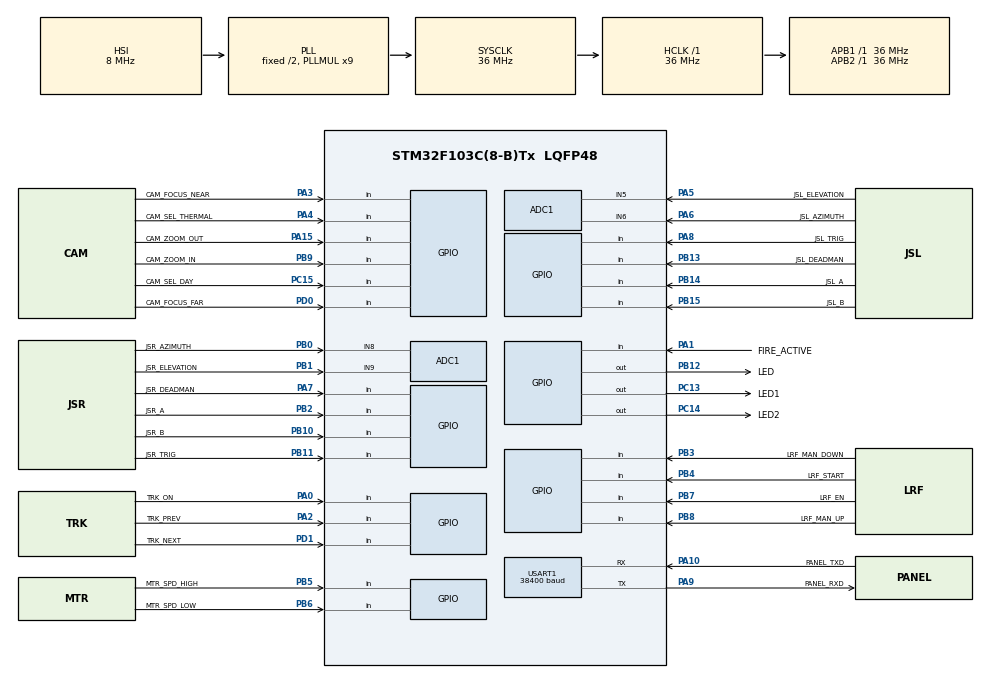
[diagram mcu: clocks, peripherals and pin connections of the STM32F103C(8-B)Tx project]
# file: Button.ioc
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ADC1.Channel-33\#ChannelRegularConversion=ADC_CHANNEL_8
ADC1.Channel-34\#ChannelRegularConversion=ADC_CHANNEL_9
ADC1.Channel-35\#ChannelRegularConversion=ADC_CHANNEL_6
ADC1.Channel-36\#ChannelRegularConversion=ADC_CHANNEL_5
ADC1.ContinuousConvMode=ENABLE
ADC1.DataAlign=ADC_DATAALIGN_RIGHT
ADC1.DiscontinuousConvMode=DISABLE
ADC1.EnableAnalogWatchDog=false
ADC1.EnableRegularConversion=ENABLE
ADC1.ExternalTrigConv=ADC_EXTERNALTRIGCONV_T3_TRGO
ADC1.InjNumberOfConversion=0
ADC1.NbrOfConversion=4
ADC1.NbrOfConversionFlag=1
ADC1.Rank-33\#ChannelRegularConversion=1
ADC1.Rank-34\#ChannelRegularConversion=2
ADC1.Rank-35\#ChannelRegularConversion=3
ADC1.Rank-36\#ChannelRegularConversion=4
ADC1.SamplingTime-33\#ChannelRegularConversion=ADC_SAMPLETIME_55CYCLES_5
ADC1.SamplingTime-34\#ChannelRegularConversion=ADC_SAMPLETIME_55CYCLES_5
ADC1.SamplingTime-35\#ChannelRegularConversion=ADC_SAMPLETIME_55CYCLES_5
ADC1.SamplingTime-36\#ChannelRegularConversion=ADC_SAMPLETIME_55CYCLES_5
ADC1.ScanConvMode=ADC_SCAN_ENABLE
ADC1.master=1
Dma.ADC1.0.Direction=DMA_PERIPH_TO_MEMORY
Dma.ADC1.0.Instance=DMA1_Channel1
Dma.ADC1.0.MemDataAlignment=DMA_MDATAALIGN_HALFWORD
Dma.ADC1.0.MemInc=DMA_MINC_ENABLE
Dma.ADC1.0.Mode=DMA_CIRCULAR
Dma.ADC1.0.PeriphDataAlignment=DMA_PDATAALIGN_HALFWORD
Dma.ADC1.0.PeriphInc=DMA_PINC_DISABLE
Dma.ADC1.0.Priority=DMA_PRIORITY_LOW
Dma.Request0=ADC1
IWDG.Prescaler=IWDG_PRESCALER_256
IWDG.Reload=312
Mcu.Family=STM32F1
Mcu.Name=STM32F103C(8-B)Tx
Mcu.Package=LQFP48
NVIC.DMA1_Channel1_IRQn=true\:9\:0\:true\:false\:true\:false\:true
NVIC.PriorityGroup=NVIC_PRIORITYGROUP_4
NVIC.USART1_IRQn=true\:7\:0\:true\:false\:false\:true\:true
PA0-WKUP.GPIO_Label=TRK_ON
PA0-WKUP.GPIO_PuPd=GPIO_PULLUP
PA0-WKUP.Signal=GPIO_Input
PA1.GPIO_Label=FIRE_ACTIVE
PA1.GPIO_PuPd=GPIO_PULLUP
PA1.Signal=GPIO_Input
PA10.GPIO_Label=PANEL_TXD
PA10.GPIO_PuPd=GPIO_PULLUP
PA10.Mode=Asynchronous
PA10.Signal=USART1_RX
PA11.Signal=CAN_RX
PA12.Signal=CAN_TX
PA13.Mode=Serial_Wire
PA13.Signal=SYS_JTMS-SWDIO
PA14.Mode=Serial_Wire
PA14.Signal=SYS_JTCK-SWCLK
PA15.GPIO_Label=CAM_ZOOM_OUT
PA15.GPIO_Mode=GPIO_MODE_INPUT
PA15.GPIO_PuPd=GPIO_PULLUP
PA15.Signal=GPIO_Input
PA2.GPIO_Label=TRK_PREV
PA2.GPIO_Mode=GPIO_MODE_INPUT
PA2.GPIO_PuPd=GPIO_PULLUP
PA2.Signal=GPIO_Input
PA3.GPIO_Label=CAM_FOCUS_NEAR
PA3.GPIO_Mode=GPIO_MODE_INPUT
PA3.GPIO_PuPd=GPIO_PULLUP
PA3.Signal=GPIO_Input
PA4.GPIO_Label=CAM_SEL_THERMAL
PA4.GPIO_Mode=GPIO_MODE_INPUT
PA4.GPIO_PuPd=GPIO_PULLUP
PA4.Signal=GPIO_Input
PA5.GPIO_Label=JSL_ELEVATION
PA5.Signal=ADCx_IN5
PA6.GPIO_Label=JSL_AZIMUTH
PA6.Signal=ADCx_IN6
PA7.GPIO_Label=JSR_DEADMAN
PA7.GPIO_Mode=GPIO_MODE_INPUT
PA7.GPIO_PuPd=GPIO_PULLUP
PA7.Signal=GPIO_Input
PA8.GPIO_Label=JSL_TRIG
PA8.GPIO_Mode=GPIO_MODE_INPUT
PA8.GPIO_PuPd=GPIO_PULLUP
PA8.Signal=GPIO_Input
PA9.GPIO_Label=PANEL_RXD
PA9.Mode=Asynchronous
PA9.Signal=USART1_TX
PB0.GPIO_Label=JSR_AZIMUTH
PB0.Signal=ADCx_IN8
PB1.GPIO_Label=JSR_ELEVATION
PB1.Signal=ADCx_IN9
PB10.GPIO_Label=JSR_B
PB10.GPIO_Mode=GPIO_MODE_INPUT
PB10.GPIO_PuPd=GPIO_PULLUP
PB10.Signal=GPIO_Input
PB11.GPIO_Label=JSR_TRIG
PB11.GPIO_Mode=GPIO_MODE_INPUT
PB11.GPIO_PuPd=GPIO_PULLUP
PB11.Signal=GPIO_Input
PB12.GPIO_Label=LED
PB12.PinState=GPIO_PIN_SET
PB12.Signal=GPIO_Output
PB13.GPIO_Label=JSL_DEADMAN
PB13.GPIO_Mode=GPIO_MODE_INPUT
PB13.GPIO_PuPd=GPIO_PULLUP
PB13.Signal=GPIO_Input
PB14.GPIO_Label=JSL_A
PB14.GPIO_Mode=GPIO_MODE_INPUT
PB14.GPIO_PuPd=GPIO_PULLUP
PB14.Signal=GPIO_Input
PB15.GPIO_Label=JSL_B
PB15.GPIO_Mode=GPIO_MODE_INPUT
PB15.GPIO_PuPd=GPIO_PULLUP
PB15.Signal=GPIO_Input
PB2.GPIO_Label=JSR_A
PB2.GPIO_Mode=GPIO_MODE_INPUT
PB2.GPIO_PuPd=GPIO_PULLUP
PB2.Signal=GPIO_Input
PB3.GPIO_Label=LRF_MAN_DOWN
PB3.GPIO_Mode=GPIO_MODE_INPUT
PB3.GPIO_PuPd=GPIO_PULLUP
PB3.Signal=GPIO_Input
PB4.GPIO_Label=LRF_START
PB4.GPIO_Mode=GPIO_MODE_INPUT
PB4.GPIO_PuPd=GPIO_PULLUP
PB4.Signal=GPIO_Input
PB5.GPIO_Label=MTR_SPD_HIGH
PB5.GPIO_Mode=GPIO_MODE_INPUT
PB5.GPIO_PuPd=GPIO_PULLUP
PB5.Signal=GPIO_Input
PB6.GPIO_Label=MTR_SPD_LOW
PB6.GPIO_Mode=GPIO_MODE_INPUT
PB6.GPIO_PuPd=GPIO_PULLUP
PB6.Signal=GPIO_Input
PB7.GPIO_Label=LRF_EN
PB7.GPIO_Mode=GPIO_MODE_INPUT
PB7.GPIO_PuPd=GPIO_PULLUP
PB7.Signal=GPIO_Input
PB8.GPIO_Label=LRF_MAN_UP
PB8.GPIO_Mode=GPIO_MODE_INPUT
PB8.GPIO_PuPd=GPIO_PULLUP
PB8.Signal=GPIO_Input
PB9.GPIO_Label=CAM_ZOOM_IN
PB9.GPIO_Mode=GPIO_MODE_INPUT
PB9.GPIO_PuPd=GPIO_PULLUP
PB9.Signal=GPIO_Input
PC13-TAMPER-RTC.GPIO_Label=LED1
PC13-TAMPER-RTC.Signal=GPIO_Output
PC14-OSC32_IN.GPIO_Label=LED2
PC14-OSC32_IN.Signal=GPIO_Output
PC15-OSC32_OUT.GPIO_Label=CAM_SEL_DAY
PC15-OSC32_OUT.GPIO_Mode=GPIO_MODE_INPUT
PC15-OSC32_OUT.GPIO_PuPd=GPIO_PULLUP
PC15-OSC32_OUT.Signal=GPIO_Input
PD0-OSC_IN.GPIO_Label=CAM_FOCUS_FAR
PD0-OSC_IN.GPIO_Mode=GPIO_MODE_INPUT
PD0-OSC_IN.GPIO_PuPd=GPIO_PULLUP
PD0-OSC_IN.Signal=GPIO_Input
PD1-OSC_OUT.GPIO_Label=TRK_NEXT
PD1-OSC_OUT.GPIO_Mode=GPIO_MODE_INPUT
PD1-OSC_OUT.GPIO_PuPd=GPIO_PULLUP
PD1-OSC_OUT.Signal=GPIO_Input
ProjectManager.HeapSize=0x200
ProjectManager.StackSize=0x400
ProjectManager.TargetToolchain=TrueSTUDIO
RCC.ADCPresc=RCC_ADCPCLK2_DIV6
RCC.AHBFreq_Value=36000000
RCC.APB1Freq_Value=36000000
RCC.APB1TimFreq_Value=36000000
RCC.APB2Freq_Value=36000000
RCC.APB2TimFreq_Value=36000000
RCC.HCLKFreq_Value=36000000
RCC.PLLMUL=RCC_PLL_MUL9
RCC.SYSCLKFreq_VALUE=36000000
RCC.SYSCLKSource=RCC_SYSCLKSOURCE_PLLCLK
RCC.USBFreq_Value=24000000
RCC.USBPrescaler=RCC_USBCLKSOURCE_PLL_DIV1_5
SH.ADCx_IN5.0=ADC1_IN5,IN5
SH.ADCx_IN6.0=ADC1_IN6,IN6
SH.ADCx_IN8.0=ADC1_IN8,IN8
SH.ADCx_IN9.0=ADC1_IN9,IN9
TIM3.Period=999
TIM3.Prescaler=35
TIM3.TIM_MasterOutputTrigger=TIM_TRGO_UPDATE
USART1.BaudRate=38400
USART1.VirtualMode=VM_ASYNC
VP_IWDG_VS_IWDG.Mode=IWDG_Activate
VP_TIM3_VS_ClockSourceINT.Mode=Internal
board=custom

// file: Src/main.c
/* USER CODE BEGIN Header */
/**
  ******************************************************************************
  * @file           : main.c
  * @brief          : Main program body
  ******************************************************************************
  * @attention
  *
  * <h2><center>&copy; Copyright (c) 2021 STMicroelectronics.
  * All rights reserved.</center></h2>
  *
  * This software component is licensed by ST under BSD 3-Clause license,
  * the "License"; You may not use this file except in compliance with the
  * License. You may obtain a copy of the License at:
  *                        opensource.org/licenses/BSD-3-Clause
  *
  ******************************************************************************
  */
/* USER CODE END Header */
#include "main.h"

/* USER CODE BEGIN Includes */
#include <string.h>
#include "stm_hal_serial.h"
/* USER CODE END Includes */

ADC_HandleTypeDef hadc1;
DMA_HandleTypeDef hdma_adc1;

IWDG_HandleTypeDef hiwdg;

TIM_HandleTypeDef htim3;

UART_HandleTypeDef huart1;

/* USER CODE BEGIN PV */
/* Private variables ---------------------------------------------------------*/
/* TODO Private Variables*/
#define DEBUG					0
#if DEBUG==1
#	define JOYSTICK_DEBUG		0
#	define BUTTON_DEBUG			0
#	define CMD_DEBUG			0
#endif	//if DEBUG==1

#define bitRead(value, bit) (((value) >> (bit)) & 0x01)
#define bitSet(value, bit) ((value) |= (1UL << (bit)))
#define bitClear(value, bit) ((value) &= ~(1UL << (bit)))
#define bitWrite(value, bit, bitvalue) (bitvalue ? bitSet(value, bit) : bitClear(value, bit))

#define UART_BUFSIZE	RING_BUFFER_SIZE

uint16_t bufLen = 0;
char buf[128];

Ring_Buffer_t tx1Buffer = { { 0 }, 0, 0 };
Ring_Buffer_t rx1Buffer = { { 0 }, 0, 0 };
TSerial panel = { &rx1Buffer, &tx1Buffer, &huart1 };
#define CMD_BUFSIZE			32
char cmdIn[CMD_BUFSIZE];

typedef struct
{
	uint8_t id;
	uint8_t dtab;
	volatile uint16_t azimuth;
	volatile uint16_t elevation;
} Joystick_t;
Joystick_t jRight = { 0, 0, 0, 0 };
Joystick_t jLeft = { 1, 0, 0, 0 };

volatile uint16_t adcValArray[4];
uint32_t buttonState = 0;
/* USER CODE END PV */

void SystemClock_Config(void);
static void MX_GPIO_Init(void);
static void MX_DMA_Init(void);
static void MX_USART1_UART_Init(void);
static void MX_ADC1_Init(void);
static void MX_IWDG_Init(void);
static void MX_TIM3_Init(void);
/* USER CODE BEGIN PFP */
/* Private function prototypes -----------------------------------------------*/
/* TODO Private Function Prototypes*/
static void jsHandler();
static void btnHandler();
static void cmdHandler();

/* USER CODE END PFP */

int main(void)
{

  /* MCU Configuration--------------------------------------------------------*/

  /* Reset of all peripherals, Initializes the Flash interface and the Systick. */
  HAL_Init();

  /* Configure the system clock */
  SystemClock_Config();

  /* Initialize all configured peripherals */
  MX_GPIO_Init();
  MX_DMA_Init();
  MX_USART1_UART_Init();
  MX_ADC1_Init();
  MX_IWDG_Init();
  MX_TIM3_Init();
  /* USER CODE BEGIN 2 */
	/* TODO Initialization*/
	HAL_IWDG_Init(&hiwdg);
	HAL_IWDG_Refresh(&hiwdg);
#if DEBUG==1
	bufLen = sprintf(buf, "Button - Panel RWS firmware!\r\n");
	serial_write_str(&panel, buf, bufLen);
#endif	//if DEBUG==1

	serial_init(&panel);

	HAL_TIM_Base_Start(&htim3);
	HAL_ADC_Start_DMA(&hadc1, (uint32_t *) adcValArray, 4);

  /* USER CODE END 2 */

  /* Infinite loop */
  /* USER CODE BEGIN WHILE */
	/* TODO Private Variables*/
	uint32_t millis = 0;
	uint32_t ledTimer = 1000;
	while (1) {
		HAL_IWDG_Refresh(&hiwdg);
		millis = HAL_GetTick();
    /* USER CODE END WHILE */

    /* USER CODE BEGIN 3 */
		/* TODO BEGIN LOOP*/
		if (millis >= ledTimer) {
			ledTimer = millis + 50;

#if JOYSTICK_DEBUG==1
			bufLen = sprintf(buf, "jsR:\tdTAB:%d%d%d%d\t%d %d\r\n", bitRead(jRight.dtab, 0),
					bitRead(jRight.dtab, 1), bitRead(jRight.dtab, 2), bitRead(jRight.dtab, 3),
					jRight.azimuth, jRight.elevation);
			serial_write_str(&panel, buf, bufLen);
			bufLen = sprintf(buf, "jsL:\tdTAB:%d%d%d%d\t%d %d\r\n", bitRead(jLeft.dtab, 0),
					bitRead(jLeft.dtab, 1), bitRead(jLeft.dtab, 2), bitRead(jLeft.dtab, 3),
					jLeft.azimuth, jLeft.elevation);
			serial_write_str(&panel, buf, bufLen);
#endif	//if JOYSTICK_DEBUG==1

#if BUTTON_DEBUG==1
			bufLen = sprintf(buf, "buttonState= 0b");
			serial_write_str(&panel, buf, bufLen);
			for ( int i = 0; i < 16; i++ )
			serial_write(&panel, bitRead(buttonState,i) + '0');
			serial_write_str(&panel, "\r\n", 2);
#endif	//if BUTTON_DEBUG==1

#if DEBUG==0
			bufLen = sprintf(buf, "$BTN,%d,%d,%d,%d,%d,%d,%d*\r\n", buttonState, jRight.dtab,
					jRight.azimuth, jRight.elevation, jLeft.dtab, jLeft.azimuth, jLeft.elevation);
			serial_write_str(&panel, buf, bufLen);
#endif	//if DEBUG==0

		}

		jsHandler();
		btnHandler();
		cmdHandler();

		/* TODO END LOOP*/
	}
  /* USER CODE END 3 */
}

void SystemClock_Config(void)
{
  RCC_OscInitTypeDef RCC_OscInitStruct = {0};
  RCC_ClkInitTypeDef RCC_ClkInitStruct = {0};
  RCC_PeriphCLKInitTypeDef PeriphClkInit = {0};

  /** Initializes the RCC Oscillators according to the specified parameters
  * in the RCC_OscInitTypeDef structure.
  */
  RCC_OscInitStruct.OscillatorType = RCC_OSCILLATORTYPE_HSI|RCC_OSCILLATORTYPE_LSI;
  RCC_OscInitStruct.HSIState = RCC_HSI_ON;
  RCC_OscInitStruct.HSICalibrationValue = RCC_HSICALIBRATION_DEFAULT;
  RCC_OscInitStruct.LSIState = RCC_LSI_ON;
  RCC_OscInitStruct.PLL.PLLState = RCC_PLL_ON;
  RCC_OscInitStruct.PLL.PLLSource = RCC_PLLSOURCE_HSI_DIV2;
  RCC_OscInitStruct.PLL.PLLMUL = RCC_PLL_MUL9;
  if (HAL_RCC_OscConfig(&RCC_OscInitStruct) != HAL_OK)
  {
    Error_Handler();
  }
  /** Initializes the CPU, AHB and APB buses clocks
  */
  RCC_ClkInitStruct.ClockType = RCC_CLOCKTYPE_HCLK|RCC_CLOCKTYPE_SYSCLK
                              |RCC_CLOCKTYPE_PCLK1|RCC_CLOCKTYPE_PCLK2;
  RCC_ClkInitStruct.SYSCLKSource = RCC_SYSCLKSOURCE_PLLCLK;
  RCC_ClkInitStruct.AHBCLKDivider = RCC_SYSCLK_DIV1;
  RCC_ClkInitStruct.APB1CLKDivider = RCC_HCLK_DIV1;
  RCC_ClkInitStruct.APB2CLKDivider = RCC_HCLK_DIV1;

  if (HAL_RCC_ClockConfig(&RCC_ClkInitStruct, FLASH_LATENCY_1) != HAL_OK)
  {
    Error_Handler();
  }
  PeriphClkInit.PeriphClockSelection = RCC_PERIPHCLK_ADC;
  PeriphClkInit.AdcClockSelection = RCC_ADCPCLK2_DIV6;
  if (HAL_RCCEx_PeriphCLKConfig(&PeriphClkInit) != HAL_OK)
  {
    Error_Handler();
  }
}

static void MX_ADC1_Init(void)
{

  ADC_ChannelConfTypeDef sConfig = {0};

  /** Common config
  */
  hadc1.Instance = ADC1;
  hadc1.Init.ScanConvMode = ADC_SCAN_ENABLE;
  hadc1.Init.ContinuousConvMode = ENABLE;
  hadc1.Init.DiscontinuousConvMode = DISABLE;
  hadc1.Init.ExternalTrigConv = ADC_EXTERNALTRIGCONV_T3_TRGO;
  hadc1.Init.DataAlign = ADC_DATAALIGN_RIGHT;
  hadc1.Init.NbrOfConversion = 4;
  if (HAL_ADC_Init(&hadc1) != HAL_OK)
  {
    Error_Handler();
  }
  /** Configure Regular Channel
  */
  sConfig.Channel = ADC_CHANNEL_8;
  sConfig.Rank = ADC_REGULAR_RANK_1;
  sConfig.SamplingTime = ADC_SAMPLETIME_55CYCLES_5;
  if (HAL_ADC_ConfigChannel(&hadc1, &sConfig) != HAL_OK)
  {
    Error_Handler();
  }
  /** Configure Regular Channel
  */
  sConfig.Channel = ADC_CHANNEL_9;
  sConfig.Rank = ADC_REGULAR_RANK_2;
  if (HAL_ADC_ConfigChannel(&hadc1, &sConfig) != HAL_OK)
  {
    Error_Handler();
  }
  /** Configure Regular Channel
  */
  sConfig.Channel = ADC_CHANNEL_6;
  sConfig.Rank = ADC_REGULAR_RANK_3;
  if (HAL_ADC_ConfigChannel(&hadc1, &sConfig) != HAL_OK)
  {
    Error_Handler();
  }
  /** Configure Regular Channel
  */
  sConfig.Channel = ADC_CHANNEL_5;
  sConfig.Rank = ADC_REGULAR_RANK_4;
  if (HAL_ADC_ConfigChannel(&hadc1, &sConfig) != HAL_OK)
  {
    Error_Handler();
  }

}

static void MX_IWDG_Init(void)
{

  hiwdg.Instance = IWDG;
  hiwdg.Init.Prescaler = IWDG_PRESCALER_256;
  hiwdg.Init.Reload = 312;
  if (HAL_IWDG_Init(&hiwdg) != HAL_OK)
  {
    Error_Handler();
  }

}

static void MX_TIM3_Init(void)
{

  TIM_ClockConfigTypeDef sClockSourceConfig = {0};
  TIM_MasterConfigTypeDef sMasterConfig = {0};

  htim3.Instance = TIM3;
  htim3.Init.Prescaler = 35;
  htim3.Init.CounterMode = TIM_COUNTERMODE_UP;
  htim3.Init.Period = 999;
  htim3.Init.ClockDivision = TIM_CLOCKDIVISION_DIV1;
  htim3.Init.AutoReloadPreload = TIM_AUTORELOAD_PRELOAD_DISABLE;
  if (HAL_TIM_Base_Init(&htim3) != HAL_OK)
  {
    Error_Handler();
  }
  sClockSourceConfig.ClockSource = TIM_CLOCKSOURCE_INTERNAL;
  if (HAL_TIM_ConfigClockSource(&htim3, &sClockSourceConfig) != HAL_OK)
  {
    Error_Handler();
  }
  sMasterConfig.MasterOutputTrigger = TIM_TRGO_UPDATE;
  sMasterConfig.MasterSlaveMode = TIM_MASTERSLAVEMODE_DISABLE;
  if (HAL_TIMEx_MasterConfigSynchronization(&htim3, &sMasterConfig) != HAL_OK)
  {
    Error_Handler();
  }

}

static void MX_USART1_UART_Init(void)
{

  huart1.Instance = USART1;
  huart1.Init.BaudRate = 38400;
  huart1.Init.WordLength = UART_WORDLENGTH_8B;
  huart1.Init.StopBits = UART_STOPBITS_1;
  huart1.Init.Parity = UART_PARITY_NONE;
  huart1.Init.Mode = UART_MODE_TX_RX;
  huart1.Init.HwFlowCtl = UART_HWCONTROL_NONE;
  huart1.Init.OverSampling = UART_OVERSAMPLING_16;
  if (HAL_UART_Init(&huart1) != HAL_OK)
  {
    Error_Handler();
  }

}

static void MX_DMA_Init(void)
{

  /* DMA controller clock enable */
  __HAL_RCC_DMA1_CLK_ENABLE();

  /* DMA interrupt init */
  /* DMA1_Channel1_IRQn interrupt configuration */
  HAL_NVIC_SetPriority(DMA1_Channel1_IRQn, 9, 0);
  HAL_NVIC_EnableIRQ(DMA1_Channel1_IRQn);

}

static void MX_GPIO_Init(void)
{
  GPIO_InitTypeDef GPIO_InitStruct = {0};

  /* GPIO Ports Clock Enable */
  __HAL_RCC_GPIOC_CLK_ENABLE();
  __HAL_RCC_GPIOD_CLK_ENABLE();
  __HAL_RCC_GPIOA_CLK_ENABLE();
  __HAL_RCC_GPIOB_CLK_ENABLE();

  /*Configure GPIO pin Output Level */
  HAL_GPIO_WritePin(GPIOC, LED1_Pin|LED2_Pin, GPIO_PIN_RESET);

  /*Configure GPIO pin Output Level */
  HAL_GPIO_WritePin(LED_GPIO_Port, LED_Pin, GPIO_PIN_SET);

  /*Configure GPIO pins : LED1_Pin LED2_Pin */
  GPIO_InitStruct.Pin = LED1_Pin|LED2_Pin;
  GPIO_InitStruct.Mode = GPIO_MODE_OUTPUT_PP;
  GPIO_InitStruct.Pull = GPIO_NOPULL;
  GPIO_InitStruct.Speed = GPIO_SPEED_FREQ_LOW;
  HAL_GPIO_Init(GPIOC, &GPIO_InitStruct);

  /*Configure GPIO pin : CAM_SEL_DAY_Pin */
  GPIO_InitStruct.Pin = CAM_SEL_DAY_Pin;
  GPIO_InitStruct.Mode = GPIO_MODE_INPUT;
  GPIO_InitStruct.Pull = GPIO_PULLUP;
  HAL_GPIO_Init(CAM_SEL_DAY_GPIO_Port, &GPIO_InitStruct);

  /*Configure GPIO pins : CAM_FOCUS_FAR_Pin TRK_NEXT_Pin */
  GPIO_InitStruct.Pin = CAM_FOCUS_FAR_Pin|TRK_NEXT_Pin;
  GPIO_InitStruct.Mode = GPIO_MODE_INPUT;
  GPIO_InitStruct.Pull = GPIO_PULLUP;
  HAL_GPIO_Init(GPIOD, &GPIO_InitStruct);

  /*Configure GPIO pins : TRK_ON_Pin FIRE_ACTIVE_Pin TRK_PREV_Pin CAM_FOCUS_NEAR_Pin
                           CAM_SEL_THERMAL_Pin JSR_DEADMAN_Pin JSL_TRIG_Pin CAM_ZOOM_OUT_Pin */
  GPIO_InitStruct.Pin = TRK_ON_Pin|FIRE_ACTIVE_Pin|TRK_PREV_Pin|CAM_FOCUS_NEAR_Pin
                          |CAM_SEL_THERMAL_Pin|JSR_DEADMAN_Pin|JSL_TRIG_Pin|CAM_ZOOM_OUT_Pin;
  GPIO_InitStruct.Mode = GPIO_MODE_INPUT;
  GPIO_InitStruct.Pull = GPIO_PULLUP;
  HAL_GPIO_Init(GPIOA, &GPIO_InitStruct);

  /*Configure GPIO pins : JSR_A_Pin JSR_B_Pin JSR_TRIG_Pin JSL_DEADMAN_Pin
                           JSL_A_Pin JSL_B_Pin LRF_MAN_DOWN_Pin LRF_START_Pin
                           MTR_SPD_HIGH_Pin MTR_SPD_LOW_Pin LRF_EN_Pin LRF_MAN_UP_Pin
                           CAM_ZOOM_IN_Pin */
  GPIO_InitStruct.Pin = JSR_A_Pin|JSR_B_Pin|JSR_TRIG_Pin|JSL_DEADMAN_Pin
                          |JSL_A_Pin|JSL_B_Pin|LRF_MAN_DOWN_Pin|LRF_START_Pin
                          |MTR_SPD_HIGH_Pin|MTR_SPD_LOW_Pin|LRF_EN_Pin|LRF_MAN_UP_Pin
                          |CAM_ZOOM_IN_Pin;
  GPIO_InitStruct.Mode = GPIO_MODE_INPUT;
  GPIO_InitStruct.Pull = GPIO_PULLUP;
  HAL_GPIO_Init(GPIOB, &GPIO_InitStruct);

  /*Configure GPIO pin : LED_Pin */
  GPIO_InitStruct.Pin = LED_Pin;
  GPIO_InitStruct.Mode = GPIO_MODE_OUTPUT_PP;
  GPIO_InitStruct.Pull = GPIO_NOPULL;
  GPIO_InitStruct.Speed = GPIO_SPEED_FREQ_LOW;
  HAL_GPIO_Init(LED_GPIO_Port, &GPIO_InitStruct);

  /*Configure GPIO pin : PA11 */
  GPIO_InitStruct.Pin = GPIO_PIN_11;
  GPIO_InitStruct.Mode = GPIO_MODE_INPUT;
  GPIO_InitStruct.Pull = GPIO_NOPULL;
  HAL_GPIO_Init(GPIOA, &GPIO_InitStruct);

  /*Configure GPIO pin : PA12 */
  GPIO_InitStruct.Pin = GPIO_PIN_12;
  GPIO_InitStruct.Mode = GPIO_MODE_AF_PP;
  GPIO_InitStruct.Speed = GPIO_SPEED_FREQ_HIGH;
  HAL_GPIO_Init(GPIOA, &GPIO_InitStruct);

  /*Configure peripheral I/O remapping */
  __HAL_AFIO_REMAP_PD01_ENABLE();

}

/* USER CODE BEGIN 4 */
/* TODO Function Declaration*/
static void jsHandler()
{
	bitWrite(jRight.dtab, 0, HAL_GPIO_ReadPin(JSR_DEADMAN_GPIO_Port, JSR_DEADMAN_Pin));
	bitWrite(jRight.dtab, 1, HAL_GPIO_ReadPin(JSR_TRIG_GPIO_Port, JSR_TRIG_Pin));
	bitWrite(jRight.dtab, 2, HAL_GPIO_ReadPin(JSR_A_GPIO_Port,JSR_A_Pin));
	bitWrite(jRight.dtab, 3, HAL_GPIO_ReadPin(JSR_B_GPIO_Port,JSR_B_Pin));

	bitWrite(jLeft.dtab, 0, !HAL_GPIO_ReadPin(JSL_DEADMAN_GPIO_Port, JSL_DEADMAN_Pin));
	bitWrite(jLeft.dtab, 1, !HAL_GPIO_ReadPin(JSL_TRIG_GPIO_Port, JSL_TRIG_Pin));
	bitWrite(jLeft.dtab, 2, !HAL_GPIO_ReadPin(JSL_A_GPIO_Port,JSL_A_Pin));
	bitWrite(jLeft.dtab, 3, !HAL_GPIO_ReadPin(JSL_B_GPIO_Port,JSL_B_Pin));
}

static void btnHandler()
{
	bitWrite(buttonState, 0, !HAL_GPIO_ReadPin(MTR_SPD_LOW_GPIO_Port,MTR_SPD_LOW_Pin));
	bitWrite(buttonState, 1, !HAL_GPIO_ReadPin(MTR_SPD_HIGH_GPIO_Port,MTR_SPD_HIGH_Pin));

	bitWrite(buttonState, 2, !HAL_GPIO_ReadPin(LRF_EN_GPIO_Port,LRF_EN_Pin));
	bitWrite(buttonState, 3, !HAL_GPIO_ReadPin(LRF_START_GPIO_Port,LRF_START_Pin));
	bitWrite(buttonState, 4, !HAL_GPIO_ReadPin(LRF_MAN_UP_GPIO_Port,LRF_MAN_UP_Pin));
	bitWrite(buttonState, 5, !HAL_GPIO_ReadPin(LRF_MAN_DOWN_GPIO_Port,LRF_MAN_DOWN_Pin));

	bitWrite(buttonState, 6, !HAL_GPIO_ReadPin(CAM_ZOOM_IN_GPIO_Port,CAM_ZOOM_IN_Pin));
	bitWrite(buttonState, 7, !HAL_GPIO_ReadPin(CAM_ZOOM_OUT_GPIO_Port,CAM_ZOOM_OUT_Pin));
	bitWrite(buttonState, 8, !HAL_GPIO_ReadPin(CAM_SEL_DAY_GPIO_Port,CAM_SEL_DAY_Pin));
	bitWrite(buttonState, 9, !HAL_GPIO_ReadPin(CAM_SEL_THERMAL_GPIO_Port,CAM_SEL_THERMAL_Pin));
	bitWrite(buttonState, 10, !HAL_GPIO_ReadPin(CAM_FOCUS_FAR_GPIO_Port,CAM_FOCUS_FAR_Pin));
	bitWrite(buttonState, 11, !HAL_GPIO_ReadPin(CAM_FOCUS_NEAR_GPIO_Port,CAM_FOCUS_NEAR_Pin));

	bitWrite(buttonState, 12, !HAL_GPIO_ReadPin(TRK_ON_GPIO_Port,TRK_ON_Pin));
	bitWrite(buttonState, 13, !HAL_GPIO_ReadPin(TRK_NEXT_GPIO_Port,TRK_NEXT_Pin));
	bitWrite(buttonState, 14, !HAL_GPIO_ReadPin(TRK_PREV_GPIO_Port,TRK_PREV_Pin));

	bitWrite(buttonState, 15, !HAL_GPIO_ReadPin(FIRE_ACTIVE_GPIO_Port,FIRE_ACTIVE_Pin));

}

static void cmdHandler()
{
	bool cmdCompleted = false;
	char c;
	uint8_t ledState = 0;

	if (serial_available(&panel)) {
		c = serial_read(&panel);

		if (c == '$')
			memset(cmdIn, 0, CMD_BUFSIZE);
		else if (c == '*')
			cmdCompleted = true;

		strncat(cmdIn, (const char *) &c, 1);
	}

	if (cmdCompleted) {
#if CMD_DEBUG==1
		bufLen = sprintf(buf, "len=%d\t%s\r\n", strlen(cmdIn), cmdIn);
		serial_write_str(&panel, buf, bufLen);
#endif	//if CMD_DEBUG==1

		if (strncmp(cmdIn, "$LED,", 5) == 0 && strlen(cmdIn) == 7) {
			if (cmdIn[5] >= '0' && cmdIn[5] <= '9') {
				ledState = (uint8_t) (cmdIn[5] - '0');

				HAL_GPIO_WritePin(LED1_GPIO_Port, LED1_Pin, bitRead(ledState, 0));
				HAL_GPIO_WritePin(LED2_GPIO_Port, LED2_Pin, bitRead(ledState, 1));
			}
		}
		HAL_GPIO_TogglePin(LED_GPIO_Port, LED_Pin);
	}
}

void USART1_IRQHandler(void)
{
	USARTx_IRQHandler(&panel);
}

void HAL_ADC_ConvCpltCallback(ADC_HandleTypeDef* hadc)
{
	jRight.azimuth = ((jRight.azimuth * 9) + (adcValArray[0] * 1)) / 10;
	jRight.elevation = ((jRight.elevation * 9) + (adcValArray[1] * 1)) / 10;
	jLeft.azimuth = ((jLeft.azimuth * 9) + (adcValArray[2] * 1)) / 10;
	jLeft.elevation = ((jLeft.elevation * 9) + (adcValArray[3] * 1)) / 10;
}

/* USER CODE END 4 */

void Error_Handler(void)
{
	while (1) {
	}
}

/************************ (C) COPYRIGHT STMicroelectronics *****END OF FILE****/
